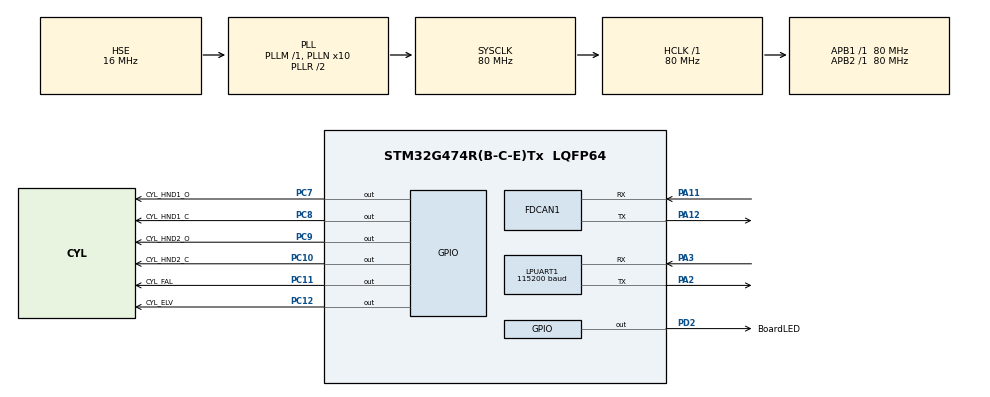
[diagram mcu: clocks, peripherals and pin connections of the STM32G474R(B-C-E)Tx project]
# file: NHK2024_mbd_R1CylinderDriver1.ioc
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FDCAN1.AutoRetransmission=DISABLE
FDCAN1.CalculateBaudRateNominal=1000000
FDCAN1.CalculateTimeBitNominal=1000
FDCAN1.CalculateTimeQuantumNominal=50.0
FDCAN1.DataPrescaler=2
FDCAN1.DataTimeSeg1=15
FDCAN1.DataTimeSeg2=4
FDCAN1.FrameFormat=FDCAN_FRAME_FD_BRS
FDCAN1.NominalPrescaler=4
FDCAN1.NominalTimeSeg1=15
FDCAN1.NominalTimeSeg2=4
FDCAN1.ProtocolException=ENABLE
FDCAN1.StdFiltersNbr=1
IWDG.Prescaler=IWDG_PRESCALER_32
IWDG.Reload=999
IWDG.Window=999
LPUART1.BaudRate=115200
Mcu.Family=STM32G4
Mcu.Name=STM32G474R(B-C-E)Tx
Mcu.Package=LQFP64
NVIC.FDCAN1_IT0_IRQn=true\:1\:0\:true\:false\:true\:true\:true\:true
NVIC.PriorityGroup=NVIC_PRIORITYGROUP_4
PA11.Mode=FDCAN_Activate
PA11.Signal=FDCAN1_RX
PA12.Mode=FDCAN_Activate
PA12.Signal=FDCAN1_TX
PA13.Mode=Serial_Wire
PA13.Signal=SYS_JTMS-SWDIO
PA14.Mode=Serial_Wire
PA14.Signal=SYS_JTCK-SWCLK
PA2.Mode=Asynchronous
PA2.Signal=LPUART1_TX
PA3.Mode=Asynchronous
PA3.Signal=LPUART1_RX
PC10.GPIO_Label=CYL_HND2_C
PC10.Signal=GPIO_Output
PC11.GPIO_Label=CYL_FAL
PC11.Signal=GPIO_Output
PC12.GPIO_Label=CYL_ELV
PC12.Signal=GPIO_Output
PC7.GPIO_Label=CYL_HND1_O
PC7.Signal=GPIO_Output
PC8.GPIO_Label=CYL_HND1_C
PC8.Signal=GPIO_Output
PC9.GPIO_Label=CYL_HND2_O
PC9.Signal=GPIO_Output
PD2.GPIO_Label=BoardLED
PD2.Signal=GPIO_Output
PF0-OSC_IN.Mode=HSE-External-Oscillator
PF0-OSC_IN.Signal=RCC_OSC_IN
PF1-OSC_OUT.Mode=HSE-External-Oscillator
PF1-OSC_OUT.Signal=RCC_OSC_OUT
ProjectManager.HeapSize=0x200
ProjectManager.StackSize=0x400
ProjectManager.TargetToolchain=STM32CubeIDE
RCC.ADC12Freq_Value=80000000
RCC.ADC345Freq_Value=80000000
RCC.AHBFreq_Value=80000000
RCC.APB1Freq_Value=80000000
RCC.APB1TimFreq_Value=80000000
RCC.APB2Freq_Value=80000000
RCC.APB2TimFreq_Value=80000000
RCC.CortexFreq_Value=80000000
RCC.EXTERNAL_CLOCK_VALUE=12288000
RCC.HCLKFreq_Value=80000000
RCC.HSE_VALUE=16000000
RCC.HSI48_VALUE=48000000
RCC.HSI_VALUE=16000000
RCC.LSE_VALUE=32768
RCC.PLLN=10
RCC.PLLSourceVirtual=RCC_PLLSOURCE_HSE
RCC.SYSCLKFreq_VALUE=80000000
RCC.SYSCLKSource=RCC_SYSCLKSOURCE_PLLCLK
RCC.USBFreq_Value=80000000
RCC.VCOOutputFreq_Value=160000000
VP_IWDG_VS_IWDG.Mode=IWDG_Activate
VP_SYS_VS_DBSignals.Mode=DisableDeadBatterySignals
board=custom

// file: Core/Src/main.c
/* USER CODE BEGIN Header */
/**
  ******************************************************************************
  * @file           : main.c
  * @brief          : Main program body
  ******************************************************************************
  * @attention
  *
  * Copyright (c) 2024 STMicroelectronics.
  * All rights reserved.
  *
  * This software is licensed under terms that can be found in the LICENSE file
  * in the root directory of this software component.
  * If no LICENSE file comes with this software, it is provided AS-IS.
  *
  ******************************************************************************
  */
/* USER CODE END Header */
#include "main.h"

/* USER CODE BEGIN Includes */
#include <stdio.h>
//#include "R1CANIDList.h"
#include "R1CANIDList.h"
/* USER CODE END Includes */

/* USER CODE BEGIN PM */
#define ARM_DOWN 1
#define ARM_UP 0

#define HAND_OPEN 0
#define HAND_CLOSE 1

#define HAND_EXPOSE 1
#define HAND_STORE 0

/* USER CODE END PM */

FDCAN_HandleTypeDef hfdcan1;

IWDG_HandleTypeDef hiwdg;

UART_HandleTypeDef hlpuart1;

/* USER CODE BEGIN PV */
FDCAN_TxHeaderTypeDef  TxHeader;
FDCAN_RxHeaderTypeDef RxHeader;
uint8_t RxData[1];
//uint8_t TxData[1] = {0x00};
uint8_t armCurrentState;
//uint8_t TxData[8] = {1, 1, 1, 0, 1, 1, 0, 0};
uint8_t TxData[1] = {0};
/* USER CODE END PV */

void SystemClock_Config(void);
static void MX_GPIO_Init(void);
static void MX_FDCAN1_Init(void);
static void MX_LPUART1_UART_Init(void);
static void MX_IWDG_Init(void);

/* USER CODE BEGIN 0 */
int _write(int file, char *ptr, int len)
{
    HAL_UART_Transmit(&hlpuart1,(uint8_t *)ptr,len,10);
    return len;
}

void Arm_Elevator(uint8_t upDown){
  if (upDown == ARM_DOWN) {
      HAL_GPIO_WritePin(CYL_ELV_GPIO_Port, CYL_ELV_Pin, GPIO_PIN_SET);
  } else if (upDown == ARM_UP){
      HAL_GPIO_WritePin(CYL_ELV_GPIO_Port, CYL_ELV_Pin, GPIO_PIN_RESET);
  }
}

void Hand1(uint8_t openClose){
	if(openClose == HAND_OPEN){
		HAL_GPIO_WritePin(CYL_HND1_O_GPIO_Port, CYL_HND1_O_Pin, GPIO_PIN_SET);
		HAL_GPIO_WritePin(CYL_HND1_C_GPIO_Port, CYL_HND1_C_Pin, GPIO_PIN_RESET);
	}
	else if(openClose == HAND_CLOSE){
		HAL_GPIO_WritePin(CYL_HND1_O_GPIO_Port, CYL_HND1_O_Pin, GPIO_PIN_RESET);
		HAL_GPIO_WritePin(CYL_HND1_C_GPIO_Port, CYL_HND1_C_Pin, GPIO_PIN_SET);
	}
}

void Hand2(uint8_t openClose){
	if(openClose == HAND_OPEN){
		HAL_GPIO_WritePin(CYL_HND2_O_GPIO_Port, CYL_HND2_O_Pin, GPIO_PIN_SET);
		HAL_GPIO_WritePin(CYL_HND2_C_GPIO_Port, CYL_HND2_C_Pin, GPIO_PIN_RESET);
	}
	else if(openClose == HAND_CLOSE){
		HAL_GPIO_WritePin(CYL_HND2_O_GPIO_Port, CYL_HND2_O_Pin, GPIO_PIN_RESET);
		HAL_GPIO_WritePin(CYL_HND2_C_GPIO_Port, CYL_HND2_C_Pin, GPIO_PIN_SET);
	}
}

void HandExpose(uint8_t openClose) {
  if(openClose == HAND_EXPOSE) {
      HAL_GPIO_WritePin(CYL_FAL_GPIO_Port, CYL_FAL_Pin, GPIO_PIN_SET);
  } else if (openClose == HAND_STORE) {
      HAL_GPIO_WritePin(CYL_FAL_GPIO_Port, CYL_FAL_Pin, GPIO_PIN_RESET);
  }
}

/*
 * send the current Arm State (UP or Down) to raspberrypi for safety
 */
void sendArmStateToRaspi() {
	// Set CAN Header
    TxHeader.Identifier = CANID_ARM_STATE;
    TxHeader.IdType = FDCAN_STANDARD_ID;
    TxHeader.TxFrameType = FDCAN_DATA_FRAME;
    TxHeader.DataLength = FDCAN_DLC_BYTES_1;
    TxHeader.ErrorStateIndicator = FDCAN_ESI_ACTIVE;
    TxHeader.BitRateSwitch = FDCAN_BRS_ON;
    TxHeader.FDFormat = FDCAN_FD_CAN;
    TxHeader.TxEventFifoControl = FDCAN_NO_TX_EVENTS;
    TxHeader.MessageMarker = 0;

    if (armCurrentState == ARM_DOWN) {
    	TxData[0] = ARM_DOWN; // => 0
    } else {
    	TxData[0] = ARM_UP; // => 1
    }

    // Send CAN Message
    if (HAL_FDCAN_AddMessageToTxFifoQ(&hfdcan1, &TxHeader, TxData) != HAL_OK)
    {
    	Error_Handler();
    }
}

void sendCANMessage(uint32_t canId) {

	// Set cAN Header
    TxHeader.Identifier = canId;
    TxHeader.IdType = FDCAN_STANDARD_ID;
    TxHeader.TxFrameType = FDCAN_DATA_FRAME;
    TxHeader.DataLength = FDCAN_DLC_BYTES_1; // To do: Change to arg
    TxHeader.ErrorStateIndicator = FDCAN_ESI_ACTIVE;
    TxHeader.BitRateSwitch = FDCAN_BRS_ON;
    TxHeader.FDFormat = FDCAN_FD_CAN;
    TxHeader.TxEventFifoControl = FDCAN_NO_TX_EVENTS;
    TxHeader.MessageMarker = 0;

    // Send CAN Message
    if (HAL_FDCAN_AddMessageToTxFifoQ(&hfdcan1, &TxHeader, TxData) != HAL_OK)
    {
    	Error_Handler();
    }

    // Wait until buffer size smaller than 3
//    while(HAL_FDCAN_GetTxFifoFreeLevel(&hfdcan1) != 3) {} // To do : Check can transceiver size
}

void HAL_FDCAN_RxFifo0Callback(FDCAN_HandleTypeDef *hfdcan, uint32_t RxFifo0ITs){
	if ((RxFifo0ITs & FDCAN_IT_RX_FIFO0_NEW_MESSAGE) != RESET) {
		 if (HAL_FDCAN_GetRxMessage(hfdcan, FDCAN_RX_FIFO0, &RxHeader, RxData) != HAL_OK) {
			Error_Handler();
		}

		switch(RxHeader.Identifier){
		// 苗アームの上下
		case CANID_SEEDLING_ARM_ELEVATOR_DOWN:
			Arm_Elevator(RxData[0]);
			printf("Arm elevator %d\r\n", RxData[0]);
			break;

		// 内側のアーム
		case CANID_SEEDLING_INSIDE_HAND_OPEN:
			Hand1(RxData[0]);
//			printf("Hand 1 %d\r\n", RxData[0]);
			if (RxData[0] == 0) {
			    printf("inside hand is close, RxData=%d\r\n", 0);
			} else {
			    printf("inside hand is open, RxData=%d\r\n", 1);
			}
			break;

		// 外側のアーム
		case CANID_SEEDLING_OUTSIDE_HAND_OPEN:
			Hand2(RxData[0]);
//			printf("Hand 2 %d\r\n", RxData[0]);
			if (RxData[0] == 0) {
			    printf("outside hand is close, RxData=%d\r\n", 0);
			} else {
			    printf("outside hand is open, RxData=%d\r\n", 1);
			}
//		  HandExpose(RxData[0]);
//		  printf("Hand Expose %d\r\n", RxData[0]);
			break;

		case CAIND_SEEDLING_ARM_EXPAND:
		  HandExpose(RxData[0]);
		  // TODO: 逆かもしれない
		  if (RxData[0] == 0) {
		      printf("store seedling arm, RxData=%d\r\n", 0);
		  } else {
		      printf("set seedling arm, RxData=%d\r\n", 1);
		  }
		  break;

		case CANID_CHECK_IS_ACTIVE:
      if (HAL_IWDG_Refresh(&hiwdg) != HAL_OK)
      {
        Error_Handler();
      }
      break;

		default:
//			printf("Invalid ID\r\n");
		    break;
		}
	}
}

/* USER CODE END 0 */

int main(void)
{
  /* USER CODE BEGIN 1 */
	setbuf(stdout, NULL);

  /* USER CODE END 1 */

  /* MCU Configuration--------------------------------------------------------*/

  /* Reset of all peripherals, Initializes the Flash interface and the Systick. */
  HAL_Init();

  /* Configure the system clock */
  SystemClock_Config();

  /* Initialize all configured peripherals */
  MX_GPIO_Init();
  MX_FDCAN1_Init();
  MX_LPUART1_UART_Init();
  MX_IWDG_Init();
  /* USER CODE BEGIN 2 */
  FDCAN_FilterTypeDef sFilterConfig;
 	sFilterConfig.IdType = FDCAN_STANDARD_ID;
 	sFilterConfig.FilterIndex = 0;
 	sFilterConfig.FilterType = FDCAN_FILTER_RANGE;
 	sFilterConfig.FilterConfig = FDCAN_FILTER_TO_RXFIFO0;
 	sFilterConfig.FilterID1 = 0;
 	sFilterConfig.FilterID2 = 0x7FF;

 	if (HAL_FDCAN_ConfigFilter(&hfdcan1, &sFilterConfig) != HAL_OK) {
 			Error_Handler();
 		}
 		if (HAL_FDCAN_ConfigGlobalFilter(&hfdcan1, FDCAN_REJECT, FDCAN_REJECT, FDCAN_FILTER_REMOTE, FDCAN_FILTER_REMOTE) != HAL_OK) {
 			Error_Handler();
 		}

 		if (HAL_FDCAN_Start(&hfdcan1) != HAL_OK) {
 			Error_Handler();
 		}

 		if (HAL_FDCAN_ActivateNotification(&hfdcan1, FDCAN_IT_RX_FIFO0_NEW_MESSAGE, 0) != HAL_OK) {
 			Error_Handler();
 		}

  /* USER CODE END 2 */

  /* Infinite loop */
  /* USER CODE BEGIN WHILE */
  while (1)
  {
//	sendArmStateToRaspi();
//	HAL_Delay(100);
    /* USER CODE END WHILE */

  }
}

void SystemClock_Config(void)
{
  RCC_OscInitTypeDef RCC_OscInitStruct = {0};
  RCC_ClkInitTypeDef RCC_ClkInitStruct = {0};

  /** Configure the main internal regulator output voltage
  */
  HAL_PWREx_ControlVoltageScaling(PWR_REGULATOR_VOLTAGE_SCALE1);

  /** Initializes the RCC Oscillators according to the specified parameters
  * in the RCC_OscInitTypeDef structure.
  */
  RCC_OscInitStruct.OscillatorType = RCC_OSCILLATORTYPE_LSI|RCC_OSCILLATORTYPE_HSE;
  RCC_OscInitStruct.HSEState = RCC_HSE_ON;
  RCC_OscInitStruct.LSIState = RCC_LSI_ON;
  RCC_OscInitStruct.PLL.PLLState = RCC_PLL_ON;
  RCC_OscInitStruct.PLL.PLLSource = RCC_PLLSOURCE_HSE;
  RCC_OscInitStruct.PLL.PLLM = RCC_PLLM_DIV1;
  RCC_OscInitStruct.PLL.PLLN = 10;
  RCC_OscInitStruct.PLL.PLLP = RCC_PLLP_DIV2;
  RCC_OscInitStruct.PLL.PLLQ = RCC_PLLQ_DIV2;
  RCC_OscInitStruct.PLL.PLLR = RCC_PLLR_DIV2;
  if (HAL_RCC_OscConfig(&RCC_OscInitStruct) != HAL_OK)
  {
    Error_Handler();
  }

  /** Initializes the CPU, AHB and APB buses clocks
  */
  RCC_ClkInitStruct.ClockType = RCC_CLOCKTYPE_HCLK|RCC_CLOCKTYPE_SYSCLK
                              |RCC_CLOCKTYPE_PCLK1|RCC_CLOCKTYPE_PCLK2;
  RCC_ClkInitStruct.SYSCLKSource = RCC_SYSCLKSOURCE_PLLCLK;
  RCC_ClkInitStruct.AHBCLKDivider = RCC_SYSCLK_DIV1;
  RCC_ClkInitStruct.APB1CLKDivider = RCC_HCLK_DIV1;
  RCC_ClkInitStruct.APB2CLKDivider = RCC_HCLK_DIV1;

  if (HAL_RCC_ClockConfig(&RCC_ClkInitStruct, FLASH_LATENCY_2) != HAL_OK)
  {
    Error_Handler();
  }
}

static void MX_FDCAN1_Init(void)
{

  hfdcan1.Instance = FDCAN1;
  hfdcan1.Init.ClockDivider = FDCAN_CLOCK_DIV1;
  hfdcan1.Init.FrameFormat = FDCAN_FRAME_FD_BRS;
  hfdcan1.Init.Mode = FDCAN_MODE_NORMAL;
  hfdcan1.Init.AutoRetransmission = DISABLE;
  hfdcan1.Init.TransmitPause = DISABLE;
  hfdcan1.Init.ProtocolException = ENABLE;
  hfdcan1.Init.NominalPrescaler = 4;
  hfdcan1.Init.NominalSyncJumpWidth = 1;
  hfdcan1.Init.NominalTimeSeg1 = 15;
  hfdcan1.Init.NominalTimeSeg2 = 4;
  hfdcan1.Init.DataPrescaler = 2;
  hfdcan1.Init.DataSyncJumpWidth = 1;
  hfdcan1.Init.DataTimeSeg1 = 15;
  hfdcan1.Init.DataTimeSeg2 = 4;
  hfdcan1.Init.StdFiltersNbr = 1;
  hfdcan1.Init.ExtFiltersNbr = 0;
  hfdcan1.Init.TxFifoQueueMode = FDCAN_TX_FIFO_OPERATION;
  if (HAL_FDCAN_Init(&hfdcan1) != HAL_OK)
  {
    Error_Handler();
  }

}

static void MX_IWDG_Init(void)
{

  hiwdg.Instance = IWDG;
  hiwdg.Init.Prescaler = IWDG_PRESCALER_32;
  hiwdg.Init.Window = 999;
  hiwdg.Init.Reload = 999;
  if (HAL_IWDG_Init(&hiwdg) != HAL_OK)
  {
    Error_Handler();
  }

}

static void MX_LPUART1_UART_Init(void)
{

  hlpuart1.Instance = LPUART1;
  hlpuart1.Init.BaudRate = 115200;
  hlpuart1.Init.WordLength = UART_WORDLENGTH_8B;
  hlpuart1.Init.StopBits = UART_STOPBITS_1;
  hlpuart1.Init.Parity = UART_PARITY_NONE;
  hlpuart1.Init.Mode = UART_MODE_TX_RX;
  hlpuart1.Init.HwFlowCtl = UART_HWCONTROL_NONE;
  hlpuart1.Init.OneBitSampling = UART_ONE_BIT_SAMPLE_DISABLE;
  hlpuart1.Init.ClockPrescaler = UART_PRESCALER_DIV1;
  hlpuart1.AdvancedInit.AdvFeatureInit = UART_ADVFEATURE_NO_INIT;
  if (HAL_UART_Init(&hlpuart1) != HAL_OK)
  {
    Error_Handler();
  }
  if (HAL_UARTEx_SetTxFifoThreshold(&hlpuart1, UART_TXFIFO_THRESHOLD_1_8) != HAL_OK)
  {
    Error_Handler();
  }
  if (HAL_UARTEx_SetRxFifoThreshold(&hlpuart1, UART_RXFIFO_THRESHOLD_1_8) != HAL_OK)
  {
    Error_Handler();
  }
  if (HAL_UARTEx_DisableFifoMode(&hlpuart1) != HAL_OK)
  {
    Error_Handler();
  }

}

static void MX_GPIO_Init(void)
{
  GPIO_InitTypeDef GPIO_InitStruct = {0};

  /* GPIO Ports Clock Enable */
  __HAL_RCC_GPIOF_CLK_ENABLE();
  __HAL_RCC_GPIOA_CLK_ENABLE();
  __HAL_RCC_GPIOC_CLK_ENABLE();
  __HAL_RCC_GPIOD_CLK_ENABLE();

  /*Configure GPIO pin Output Level */
  HAL_GPIO_WritePin(GPIOC, CYL_HND1_O_Pin|CYL_HND1_C_Pin|CYL_HND2_O_Pin|CYL_HND2_C_Pin
                          |CYL_FAL_Pin|CYL_ELV_Pin, GPIO_PIN_RESET);

  /*Configure GPIO pin Output Level */
  HAL_GPIO_WritePin(BoardLED_GPIO_Port, BoardLED_Pin, GPIO_PIN_RESET);

  /*Configure GPIO pins : CYL_HND1_O_Pin CYL_HND1_C_Pin CYL_HND2_O_Pin CYL_HND2_C_Pin
                           CYL_FAL_Pin CYL_ELV_Pin */
  GPIO_InitStruct.Pin = CYL_HND1_O_Pin|CYL_HND1_C_Pin|CYL_HND2_O_Pin|CYL_HND2_C_Pin
                          |CYL_FAL_Pin|CYL_ELV_Pin;
  GPIO_InitStruct.Mode = GPIO_MODE_OUTPUT_PP;
  GPIO_InitStruct.Pull = GPIO_NOPULL;
  GPIO_InitStruct.Speed = GPIO_SPEED_FREQ_LOW;
  HAL_GPIO_Init(GPIOC, &GPIO_InitStruct);

  /*Configure GPIO pin : BoardLED_Pin */
  GPIO_InitStruct.Pin = BoardLED_Pin;
  GPIO_InitStruct.Mode = GPIO_MODE_OUTPUT_PP;
  GPIO_InitStruct.Pull = GPIO_NOPULL;
  GPIO_InitStruct.Speed = GPIO_SPEED_FREQ_LOW;
  HAL_GPIO_Init(BoardLED_GPIO_Port, &GPIO_InitStruct);

}

void Error_Handler(void)
{
  /* USER CODE BEGIN Error_Handler_Debug */
  /* User can add his own implementation to report the HAL error return state */
  HAL_GPIO_WritePin(BoardLED_GPIO_Port, BoardLED_Pin, GPIO_PIN_SET);
  __disable_irq();
  while (1)
  {
  }
  /* USER CODE END Error_Handler_Debug */
}
